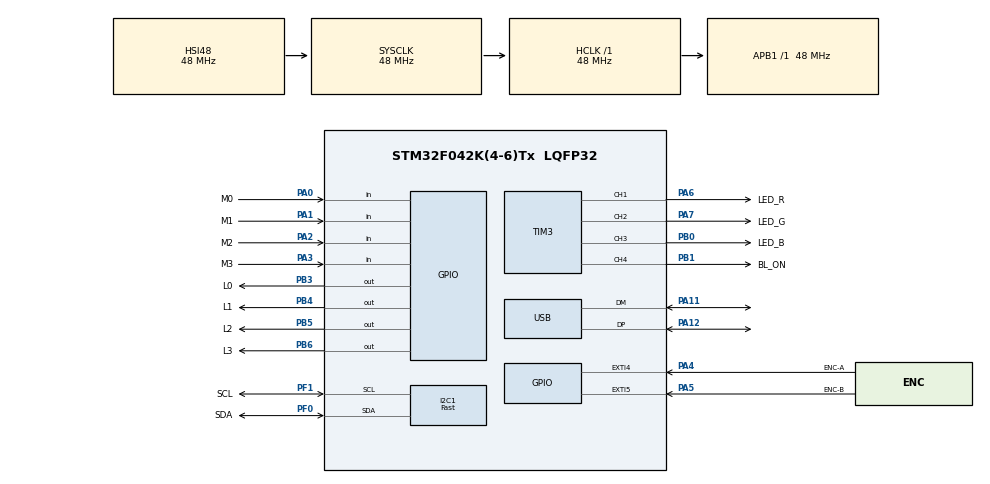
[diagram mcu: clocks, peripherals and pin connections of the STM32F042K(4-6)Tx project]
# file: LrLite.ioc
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ADC.SamplingTime=ADC_SAMPLETIME_239CYCLES_5
I2C1.I2C_Speed_Mode=I2C_Fast
I2C1.Timing=0x0000020B
Mcu.Family=STM32F0
Mcu.Name=STM32F042K(4-6)Tx
Mcu.Package=LQFP32
Mcu.UserConstants=TIM_PRESC_1uS,47;TIM_PRESC_100uS,4799;TIM_PERIOD_4mS,4000;TIM_PERIOD_1SEC,10000;TIM_PERIOD_125uS,125;TIM_PERIOD_10mS,10000;LrLite_VENDOR,"Ruffles Inc.";LrLite_PRODUCT,"LrLite";LrLite_PID,0xBBA
NVIC.EXTI4_15_IRQn=true\:0\:0\:false\:false\:true\:true\:true
NVIC.TIM16_IRQn=true\:0\:0\:false\:false\:true\:true\:true
NVIC.TIM1_BRK_UP_TRG_COM_IRQn=true\:0\:0\:false\:false\:true\:true\:true
NVIC.USB_IRQn=true\:0\:0\:false\:false\:true\:false\:true
PA0.GPIO_Label=M0
PA0.Signal=GPIO_Input
PA1.GPIO_Label=M1
PA1.Signal=GPIO_Input
PA11.Mode=Device
PA11.Signal=USB_DM
PA12.Mode=Device
PA12.Signal=USB_DP
PA13.GPIO_Label=SWDIO
PA13.Mode=Serial_Wire
PA13.Signal=SYS_SWDIO
PA14.GPIO_Label=SWCLK
PA14.Mode=Serial_Wire
PA14.Signal=SYS_SWCLK
PA2.GPIO_Label=M2
PA2.Signal=GPIO_Input
PA3.GPIO_Label=M3
PA3.Signal=GPIO_Input
PA4.GPIO_Label=ENC-A
PA4.GPIO_ModeDefaultEXTI=GPIO_MODE_IT_RISING_FALLING
PA4.GPIO_PuPd=GPIO_NOPULL
PA4.Signal=GPXTI4
PA5.GPIO_Label=ENC-B
PA5.GPIO_ModeDefaultEXTI=GPIO_MODE_IT_RISING_FALLING
PA5.GPIO_PuPd=GPIO_NOPULL
PA5.Signal=GPXTI5
PA6.GPIO_Label=LED_R
PA6.Signal=S_TIM3_CH1
PA7.GPIO_Label=LED_G
PA7.Signal=S_TIM3_CH2
PB0.GPIO_Label=LED_B
PB0.Signal=S_TIM3_CH3
PB1.GPIO_Label=BL_ON
PB1.Signal=S_TIM3_CH4
PB3.GPIO_Label=L0
PB3.Signal=GPIO_Output
PB4.GPIO_Label=L1
PB4.Signal=GPIO_Output
PB5.GPIO_Label=L2
PB5.Signal=GPIO_Output
PB6.GPIO_Label=L3
PB6.Signal=GPIO_Output
PF0-OSC_IN.GPIO_Label=SDA
PF0-OSC_IN.Mode=I2C
PF0-OSC_IN.Signal=I2C1_SDA
PF1-OSC_OUT.GPIO_Label=SCL
PF1-OSC_OUT.Mode=I2C
PF1-OSC_OUT.Signal=I2C1_SCL
ProjectManager.HeapSize=0x200
ProjectManager.StackSize=0x400
ProjectManager.TargetToolchain=TrueSTUDIO
RCC.AHBFreq_Value=48000000
RCC.APB1Freq_Value=48000000
RCC.APB1TimFreq_Value=48000000
RCC.HCLKFreq_Value=48000000
RCC.SYSCLKFreq_VALUE=48000000
RCC.SYSCLKSource=RCC_SYSCLKSOURCE_HSI48
SH.S_TIM3_CH1.0=TIM3_CH1,PWM Generation1 CH1
SH.S_TIM3_CH2.0=TIM3_CH2,PWM Generation2 CH2
SH.S_TIM3_CH3.0=TIM3_CH3,PWM Generation3 CH3
SH.S_TIM3_CH4.0=TIM3_CH4,PWM Generation4 CH4
TIM1.Period=TIM_PERIOD_4mS
TIM1.Prescaler=TIM_PRESC_1uS
TIM14.Period=TIM_PERIOD_125uS
TIM14.Prescaler=TIM_PRESC_1uS
TIM16.Period=TIM_PERIOD_10mS
TIM16.Prescaler=TIM_PRESC_1uS
TIM3.Channel-PWM\ Generation1\ CH1=TIM_CHANNEL_1
TIM3.Channel-PWM\ Generation2\ CH2=TIM_CHANNEL_2
TIM3.Channel-PWM\ Generation3\ CH3=TIM_CHANNEL_3
TIM3.Channel-PWM\ Generation4\ CH4=TIM_CHANNEL_4
TIM3.OCMode_PWM-PWM\ Generation1\ CH1=TIM_OCMODE_PWM2
TIM3.OCMode_PWM-PWM\ Generation2\ CH2=TIM_OCMODE_PWM2
TIM3.OCMode_PWM-PWM\ Generation3\ CH3=TIM_OCMODE_PWM2
TIM3.OCMode_PWM-PWM\ Generation4\ CH4=TIM_OCMODE_PWM2
TIM3.Period=TIM_PERIOD_1SEC
TIM3.Prescaler=TIM_PRESC_100uS
TIM3.Pulse-PWM\ Generation1\ CH1=5000
TIM3.Pulse-PWM\ Generation2\ CH2=5000
TIM3.Pulse-PWM\ Generation3\ CH3=5000
USB_DEVICE.CLASS_NAME_FS=HID
USB_DEVICE.MANUFACTURER_STRING=LrLite_VENDOR
USB_DEVICE.PID_HID_FS=LrLite_PID
USB_DEVICE.PRODUCT_STRING_HID_FS=LrLite_PRODUCT
USB_DEVICE.VirtualMode=Hid
USB_DEVICE.VirtualModeFS=Hid_FS
VP_ADC_TempSens_Input.Mode=IN-TempSens
VP_RCC_USB.Mode=CRS SYNC Source USB
VP_TIM14_VS_ClockSourceINT.Mode=Enable_Timer
VP_TIM16_VS_ClockSourceINT.Mode=Enable_Timer
VP_TIM1_VS_ClockSourceINT.Mode=Internal
VP_TIM3_VS_ClockSourceINT.Mode=Internal
VP_USB_DEVICE_VS_USB_DEVICE_HID_FS.Mode=HID_FS
board=custom

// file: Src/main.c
/**
  ******************************************************************************
  * @file           : main.c
  * @brief          : Main program body
  ******************************************************************************
  * This notice applies to any and all portions of this file
  * that are not between comment pairs USER CODE BEGIN and
  * USER CODE END. Other portions of this file, whether
  * inserted by the user or by software development tools
  * are owned by their respective copyright owners.
  *
  * Copyright (c) 2018 STMicroelectronics International N.V.
  * All rights reserved.
  *
  * Redistribution and use in source and binary forms, with or without
  * modification, are permitted, provided that the following conditions are met:
  *
  * 1. Redistribution of source code must retain the above copyright notice,
  *    this list of conditions and the following disclaimer.
  * 2. Redistributions in binary form must reproduce the above copyright notice,
  *    this list of conditions and the following disclaimer in the documentation
  *    and/or other materials provided with the distribution.
  * 3. Neither the name of STMicroelectronics nor the names of other
  *    contributors to this software may be used to endorse or promote products
  *    derived from this software without specific written permission.
  * 4. This software, including modifications and/or derivative works of this
  *    software, must execute solely and exclusively on microcontroller or
  *    microprocessor devices manufactured by or for STMicroelectronics.
  * 5. Redistribution and use of this software other than as permitted under
  *    this license is void and will automatically terminate your rights under
  *    this license.
  *
  * THIS SOFTWARE IS PROVIDED BY STMICROELECTRONICS AND CONTRIBUTORS "AS IS"
  * AND ANY EXPRESS, IMPLIED OR STATUTORY WARRANTIES, INCLUDING, BUT NOT
  * LIMITED TO, THE IMPLIED WARRANTIES OF MERCHANTABILITY, FITNESS FOR A
  * PARTICULAR PURPOSE AND NON-INFRINGEMENT OF THIRD PARTY INTELLECTUAL PROPERTY
  * RIGHTS ARE DISCLAIMED TO THE FULLEST EXTENT PERMITTED BY LAW. IN NO EVENT
  * SHALL STMICROELECTRONICS OR CONTRIBUTORS BE LIABLE FOR ANY DIRECT, INDIRECT,
  * INCIDENTAL, SPECIAL, EXEMPLARY, OR CONSEQUENTIAL DAMAGES (INCLUDING, BUT NOT
  * LIMITED TO, PROCUREMENT OF SUBSTITUTE GOODS OR SERVICES; LOSS OF USE, DATA,
  * OR PROFITS; OR BUSINESS INTERRUPTION) HOWEVER CAUSED AND ON ANY THEORY OF
  * LIABILITY, WHETHER IN CONTRACT, STRICT LIABILITY, OR TORT (INCLUDING
  * NEGLIGENCE OR OTHERWISE) ARISING IN ANY WAY OUT OF THE USE OF THIS SOFTWARE,
  * EVEN IF ADVISED OF THE POSSIBILITY OF SUCH DAMAGE.
  *
  ******************************************************************************
  */
#include "main.h"
#include "stm32f0xx_hal.h"
#include "usb_device.h"

/* USER CODE BEGIN Includes */
#include "usbd_hid.h"
#include "stm32f0xx_hal_tim.h"
/* USER CODE END Includes */

ADC_HandleTypeDef hadc;

I2C_HandleTypeDef hi2c1;

TIM_HandleTypeDef htim1;
TIM_HandleTypeDef htim3;
TIM_HandleTypeDef htim14;
TIM_HandleTypeDef htim16;

/* USER CODE BEGIN PV */
/* Private variables ---------------------------------------------------------*/
bool		isKeyPressed;
KEYSCAN     keystat;
uint8_t     keymouse;
uint8_t		keyline;
int32_t     lcd_timer;
bool		lcd_timer_enable;
bool        lcd_flag;
bool		isUSBConfigured,prevUSBConfigured = false;
bool		isKeyRelaseSent = true;
KEY_MODIFIER modifiers[KEY_COUNT];
KEYBOARD_INPUT_REPORT	In_Report;
extern KEY_DEFINE keytable[];
extern USBD_HandleTypeDef hUsbDeviceFS;
/* USER CODE END PV */

void SystemClock_Config(void);
static void MX_GPIO_Init(void);
static void MX_I2C1_Init(void);
static void MX_TIM3_Init(void);
static void MX_TIM1_Init(void);
static void MX_ADC_Init(void);
static void MX_TIM14_Init(void);
static void MX_TIM16_Init(void);

void HAL_TIM_MspPostInit(TIM_HandleTypeDef *htim);

/* USER CODE BEGIN PFP */
/* Private function prototypes -----------------------------------------------*/

/* USER CODE END PFP */

/* USER CODE BEGIN 0 */

//Delay process in us unit.
void Delay_us(uint32_t microsec){
	htim14.Init.Period = microsec;
	HAL_TIM_Base_Init(&htim14);
	HAL_TIM_Base_Start(&htim14);
	htim14.Instance->SR = 0;
	while((htim14.Instance->SR & TIM_SR_UIF) == 0)	;	//wait until timer up.
	HAL_TIM_Base_Stop(&htim14);
}

#if 0
void ExpandModifiers() {
	uint8_t mod_index;
	memset(modifiers, 0, sizeof(modifiers));
	for (mod_index = 0; mod_index < KEY_COUNT; mod_index++) {
		uint8_t modifier = keytable[mod_index].modifier;
		uint8_t bitcount = bitcount8(modifier);
		if (modifier != HID_NONM && bitcount > 1) {
			uint8_t dst_index = 0;
			uint8_t pattern = 0;
			if (modifier & HID_GUIM) {
				pattern += HID_GUIM;
				modifiers[mod_index].element[dst_index] = pattern;
				dst_index += 1;
			}
			if (modifier & HID_ALTM) {
				pattern += HID_ALTM;
				modifiers[mod_index].element[dst_index] = pattern;
				dst_index += 1;
			}
			if (modifier & HID_SFTM) {
				pattern += HID_SFTM;
				modifiers[mod_index].element[dst_index] = pattern;
				dst_index += 1;
			}
			if (modifier & HID_CTLM) {
				pattern += HID_CTLM;
				modifiers[mod_index].element[dst_index] = pattern;
			}
		}
	}
}
void SendModifierElement(uint8_t mod) {
	In_Report.modifier = mod;
	In_Report.keys[0] =
	In_Report.keys[1] =
	In_Report.keys[2] =
	In_Report.keys[3] = HID_NONE;
    USBD_HID_SendReport(&hUsbDeviceFS,(uint8_t *)&In_Report,sizeof(KEYBOARD_INPUT_REPORT) );
}

void SendModifiers(uint8_t bitpos) {
	uint8_t i;
	for (i = 0; i < 4; i++) {
		uint8_t mod = modifiers[bitpos].element[i];
		if (mod == HID_NONM) break;
		SendModifierElement(mod);
	}
}
#endif

bool EmulateKeyboard(void)
{
    uint32_t rkey;
    uint8_t bitpos;
    bool isKeyReport;
    if(isKeyPressed) {
        bitpos = ntz32(keystat.wd);
        rkey = (keystat.wd & MOD_SW_BIT_MASK);
        if( bitpos < KEY_COUNT + 2 ){
#if 0
        	if(modifiers[bitpos].element[0] != HID_NONM) SendModifiers(bitpos);
#endif
            In_Report.modifier = keytable[bitpos].modifier;
            In_Report.keys[HID_RPT_KEY_IDX] = keytable[bitpos].keycode;
            if (keytable[bitpos].message != NULL) {
        		LCD_Locate(0,0);
            	lcd_flag = false;
        		lcd_timer_enable = true;
            	lcd_timer = LCD_TIMER_DEFAULT;
            	LED_SetBackLight(LCD_BL_ON,LED_BL_STATIC);
            	LCD_Print(keytable[bitpos].message);
            }
			LED_SetPulse(LED_COLOR_YELLOW);
            isKeyReport = true;
		}else if(rkey == 0) {// Keys are released
			In_Report.modifier = In_Report.keys[HID_RPT_KEY_IDX] = HID_NONE;
			isKeyReport = true;
        }else
        	isKeyReport = false;

        if(isKeyReport){
        	USBD_HID_HandleTypeDef *hhid = hUsbDeviceFS.pClassData;
        	while( hhid->state != HID_IDLE ){
        		Delay_us(100);
        	}
			USBD_HID_SendReport(&hUsbDeviceFS,(uint8_t *)&In_Report,sizeof(KEYBOARD_INPUT_REPORT) );
			isKeyReport = false;
        }

        /* Clear the switch pressed flag */
        isKeyPressed = false;
        return true;
    } else
        return false;
}

/* USER CODE END 0 */

int main(void)
{

  /* MCU Configuration----------------------------------------------------------*/

  /* Reset of all peripherals, Initializes the Flash interface and the Systick. */
  HAL_Init();

  /* USER CODE BEGIN Init */
  keyline = 0;
  lcd_flag = false;
  lcd_timer_enable = false;
  lcd_timer = LCD_TIMER_DEFAULT;
  isUSBConfigured = false;
#if 0
  ExpandModifiers();
#endif
  /* USER CODE END Init */

  /* Configure the system clock */
  SystemClock_Config();

  /* Initialize all configured peripherals */
  MX_GPIO_Init();
  MX_I2C1_Init();
  MX_TIM3_Init();
  MX_TIM1_Init();
  MX_ADC_Init();
  MX_TIM14_Init();
  MX_USB_DEVICE_Init();
  MX_TIM16_Init();
  /* USER CODE BEGIN 2 */
  HAL_GPIO_WritePin(L0_GPIO_Port,L0_Pin,GPIO_PIN_SET);	//Initialize SW matrix.
  HAL_TIM_Base_Start_IT(&htim1);

  LED_Initialize();
  LED_Set(LED_COLOR_OFF, LED_BLINK_NONE);
  LED_SetBackLight(LCD_BL_ON,LED_BL_STATIC);
  HAL_Delay(LCD_PWRUP_WAIT_MS);		//Wait for LCD module power up.
  LCD_Initialize();
  /* USER CODE END 2 */

  /* Infinite loop */
  /* USER CODE BEGIN WHILE */
  uint32_t inner_sensor_val;
  const uint16_t ts_cal110 = *TEMP110_CAL_ADDR;
  const uint16_t ts_cal30 = *TEMP30_CAL_ADDR;
  const float k = (110.0 - 30.0) / (ts_cal110 - ts_cal30);

  char lcdmsg[12];
  lcd_timer = LCD_TIMER_DEFAULT;
  lcd_flag = false;
  lcd_timer_enable = true;
  while (1)
  {
	  if(isUSBConfigured){
		  if(prevUSBConfigured == false){
			  //USB device configured by host
			  LED_Set(LED_COLOR_RED, LED_BLINK_NONE);
			  LCD_Print(USBD_PRODUCT_STRING_FS);
			  sprintf(lcdmsg,"%2x.%02x",USBD_DEVICE_VER_MAJ,USBD_DEVICE_VER_MIN);
			  LCD_Locate(3,1);
			  LCD_Print(lcdmsg);
		  }

		  EmulateKeyboard();

		  if(lcd_flag){
			  LED_Set(LED_COLOR_OFF, LED_BLINK_NONE);
			  lcd_flag = false;
			  LED_SetBackLight(LCD_BL_OFF,LED_BL_STATIC);
			  LCD_Clear();
		  }
	  }else{
		if(prevUSBConfigured == true){
			LED_Set(LED_COLOR_BLUE, LED_BLINK_NONE);
		}
		if(lcd_flag){
			LED_SetBackLight(LCD_BL_ON,LED_BL_LOWPWR);
			HAL_ADC_Start(&hadc);
			//get value from ADC and display it...
			while (HAL_ADC_PollForConversion(&hadc,100) != HAL_OK)	;

			inner_sensor_val = HAL_ADC_GetValue(&hadc);

			int16_t m = inner_sensor_val - ts_cal30;
			float t = (k * (float)m) + 30.0;

			int tempf = (t * 100);
			int8_t temp_i = tempf / 100;
			int8_t temp_s = tempf % 100;

			sprintf(lcdmsg,"%02d.%02dC\xdf",temp_i,temp_s);
			//sprintf(lcdmsg,"%04X",inner_sensor_val);

			LCD_Locate(0,0);
			LCD_Print(lcdmsg);
			//Restart LCD timer.
			lcd_flag = false;
			lcd_timer = LCD_TIMER_UPDATE;
			lcd_timer_enable = true;
		}
	  }
	  prevUSBConfigured = isUSBConfigured;

  /* USER CODE END WHILE */

  }

}

void SystemClock_Config(void)
{

  RCC_OscInitTypeDef RCC_OscInitStruct;
  RCC_ClkInitTypeDef RCC_ClkInitStruct;
  RCC_PeriphCLKInitTypeDef PeriphClkInit;
  RCC_CRSInitTypeDef RCC_CRSInitStruct;

    /**Initializes the CPU, AHB and APB busses clocks
    */
  RCC_OscInitStruct.OscillatorType = RCC_OSCILLATORTYPE_HSI|RCC_OSCILLATORTYPE_HSI14
                              |RCC_OSCILLATORTYPE_HSI48;
  RCC_OscInitStruct.HSIState = RCC_HSI_ON;
  RCC_OscInitStruct.HSI48State = RCC_HSI48_ON;
  RCC_OscInitStruct.HSI14State = RCC_HSI14_ON;
  RCC_OscInitStruct.HSICalibrationValue = 16;
  RCC_OscInitStruct.HSI14CalibrationValue = 16;
  RCC_OscInitStruct.PLL.PLLState = RCC_PLL_NONE;
  if (HAL_RCC_OscConfig(&RCC_OscInitStruct) != HAL_OK)
  {
    _Error_Handler(__FILE__, __LINE__);
  }

    /**Initializes the CPU, AHB and APB busses clocks
    */
  RCC_ClkInitStruct.ClockType = RCC_CLOCKTYPE_HCLK|RCC_CLOCKTYPE_SYSCLK
                              |RCC_CLOCKTYPE_PCLK1;
  RCC_ClkInitStruct.SYSCLKSource = RCC_SYSCLKSOURCE_HSI48;
  RCC_ClkInitStruct.AHBCLKDivider = RCC_SYSCLK_DIV1;
  RCC_ClkInitStruct.APB1CLKDivider = RCC_HCLK_DIV1;

  if (HAL_RCC_ClockConfig(&RCC_ClkInitStruct, FLASH_LATENCY_1) != HAL_OK)
  {
    _Error_Handler(__FILE__, __LINE__);
  }

  PeriphClkInit.PeriphClockSelection = RCC_PERIPHCLK_USB|RCC_PERIPHCLK_I2C1;
  PeriphClkInit.I2c1ClockSelection = RCC_I2C1CLKSOURCE_HSI;
  PeriphClkInit.UsbClockSelection = RCC_USBCLKSOURCE_HSI48;

  if (HAL_RCCEx_PeriphCLKConfig(&PeriphClkInit) != HAL_OK)
  {
    _Error_Handler(__FILE__, __LINE__);
  }

    /**Enable the SYSCFG APB clock
    */
  __HAL_RCC_CRS_CLK_ENABLE();

    /**Configures CRS
    */
  RCC_CRSInitStruct.Prescaler = RCC_CRS_SYNC_DIV1;
  RCC_CRSInitStruct.Source = RCC_CRS_SYNC_SOURCE_USB;
  RCC_CRSInitStruct.Polarity = RCC_CRS_SYNC_POLARITY_RISING;
  RCC_CRSInitStruct.ReloadValue = __HAL_RCC_CRS_RELOADVALUE_CALCULATE(48000000,1000);
  RCC_CRSInitStruct.ErrorLimitValue = 34;
  RCC_CRSInitStruct.HSI48CalibrationValue = 32;

  HAL_RCCEx_CRSConfig(&RCC_CRSInitStruct);

    /**Configure the Systick interrupt time
    */
  HAL_SYSTICK_Config(HAL_RCC_GetHCLKFreq()/1000);

    /**Configure the Systick
    */
  HAL_SYSTICK_CLKSourceConfig(SYSTICK_CLKSOURCE_HCLK);

  /* SysTick_IRQn interrupt configuration */
  HAL_NVIC_SetPriority(SysTick_IRQn, 0, 0);
}

/* ADC init function */
static void MX_ADC_Init(void)
{

  ADC_ChannelConfTypeDef sConfig;

    /**Configure the global features of the ADC (Clock, Resolution, Data Alignment and number of conversion)
    */
  hadc.Instance = ADC1;
  hadc.Init.ClockPrescaler = ADC_CLOCK_ASYNC_DIV1;
  hadc.Init.Resolution = ADC_RESOLUTION_12B;
  hadc.Init.DataAlign = ADC_DATAALIGN_RIGHT;
  hadc.Init.ScanConvMode = ADC_SCAN_DIRECTION_FORWARD;
  hadc.Init.EOCSelection = ADC_EOC_SINGLE_CONV;
  hadc.Init.LowPowerAutoWait = DISABLE;
  hadc.Init.LowPowerAutoPowerOff = DISABLE;
  hadc.Init.ContinuousConvMode = DISABLE;
  hadc.Init.DiscontinuousConvMode = DISABLE;
  hadc.Init.ExternalTrigConv = ADC_SOFTWARE_START;
  hadc.Init.ExternalTrigConvEdge = ADC_EXTERNALTRIGCONVEDGE_NONE;
  hadc.Init.DMAContinuousRequests = DISABLE;
  hadc.Init.Overrun = ADC_OVR_DATA_PRESERVED;
  if (HAL_ADC_Init(&hadc) != HAL_OK)
  {
    _Error_Handler(__FILE__, __LINE__);
  }

    /**Configure for the selected ADC regular channel to be converted.
    */
  sConfig.Channel = ADC_CHANNEL_TEMPSENSOR;
  sConfig.Rank = ADC_RANK_CHANNEL_NUMBER;
  sConfig.SamplingTime = ADC_SAMPLETIME_239CYCLES_5;
  if (HAL_ADC_ConfigChannel(&hadc, &sConfig) != HAL_OK)
  {
    _Error_Handler(__FILE__, __LINE__);
  }

}

/* I2C1 init function */
static void MX_I2C1_Init(void)
{

  hi2c1.Instance = I2C1;
  hi2c1.Init.Timing = 0x0000020B;
  hi2c1.Init.OwnAddress1 = 0;
  hi2c1.Init.AddressingMode = I2C_ADDRESSINGMODE_7BIT;
  hi2c1.Init.DualAddressMode = I2C_DUALADDRESS_DISABLE;
  hi2c1.Init.OwnAddress2 = 0;
  hi2c1.Init.OwnAddress2Masks = I2C_OA2_NOMASK;
  hi2c1.Init.GeneralCallMode = I2C_GENERALCALL_DISABLE;
  hi2c1.Init.NoStretchMode = I2C_NOSTRETCH_DISABLE;
  if (HAL_I2C_Init(&hi2c1) != HAL_OK)
  {
    _Error_Handler(__FILE__, __LINE__);
  }

    /**Configure Analogue filter
    */
  if (HAL_I2CEx_ConfigAnalogFilter(&hi2c1, I2C_ANALOGFILTER_ENABLE) != HAL_OK)
  {
    _Error_Handler(__FILE__, __LINE__);
  }

    /**Configure Digital filter
    */
  if (HAL_I2CEx_ConfigDigitalFilter(&hi2c1, 0) != HAL_OK)
  {
    _Error_Handler(__FILE__, __LINE__);
  }

}

/* TIM1 init function */
static void MX_TIM1_Init(void)
{

  TIM_ClockConfigTypeDef sClockSourceConfig;
  TIM_MasterConfigTypeDef sMasterConfig;

  htim1.Instance = TIM1;
  htim1.Init.Prescaler = TIM_PRESC_1uS;
  htim1.Init.CounterMode = TIM_COUNTERMODE_UP;
  htim1.Init.Period = TIM_PERIOD_4mS;
  htim1.Init.ClockDivision = TIM_CLOCKDIVISION_DIV1;
  htim1.Init.RepetitionCounter = 0;
  htim1.Init.AutoReloadPreload = TIM_AUTORELOAD_PRELOAD_DISABLE;
  if (HAL_TIM_Base_Init(&htim1) != HAL_OK)
  {
    _Error_Handler(__FILE__, __LINE__);
  }

  sClockSourceConfig.ClockSource = TIM_CLOCKSOURCE_INTERNAL;
  if (HAL_TIM_ConfigClockSource(&htim1, &sClockSourceConfig) != HAL_OK)
  {
    _Error_Handler(__FILE__, __LINE__);
  }

  sMasterConfig.MasterOutputTrigger = TIM_TRGO_RESET;
  sMasterConfig.MasterSlaveMode = TIM_MASTERSLAVEMODE_DISABLE;
  if (HAL_TIMEx_MasterConfigSynchronization(&htim1, &sMasterConfig) != HAL_OK)
  {
    _Error_Handler(__FILE__, __LINE__);
  }

}

/* TIM3 init function */
static void MX_TIM3_Init(void)
{

  TIM_ClockConfigTypeDef sClockSourceConfig;
  TIM_MasterConfigTypeDef sMasterConfig;
  TIM_OC_InitTypeDef sConfigOC;

  htim3.Instance = TIM3;
  htim3.Init.Prescaler = TIM_PRESC_100uS;
  htim3.Init.CounterMode = TIM_COUNTERMODE_UP;
  htim3.Init.Period = TIM_PERIOD_1SEC;
  htim3.Init.ClockDivision = TIM_CLOCKDIVISION_DIV1;
  htim3.Init.AutoReloadPreload = TIM_AUTORELOAD_PRELOAD_DISABLE;
  if (HAL_TIM_Base_Init(&htim3) != HAL_OK)
  {
    _Error_Handler(__FILE__, __LINE__);
  }

  sClockSourceConfig.ClockSource = TIM_CLOCKSOURCE_INTERNAL;
  if (HAL_TIM_ConfigClockSource(&htim3, &sClockSourceConfig) != HAL_OK)
  {
    _Error_Handler(__FILE__, __LINE__);
  }

  if (HAL_TIM_PWM_Init(&htim3) != HAL_OK)
  {
    _Error_Handler(__FILE__, __LINE__);
  }

  sMasterConfig.MasterOutputTrigger = TIM_TRGO_RESET;
  sMasterConfig.MasterSlaveMode = TIM_MASTERSLAVEMODE_DISABLE;
  if (HAL_TIMEx_MasterConfigSynchronization(&htim3, &sMasterConfig) != HAL_OK)
  {
    _Error_Handler(__FILE__, __LINE__);
  }

  sConfigOC.OCMode = TIM_OCMODE_PWM2;
  sConfigOC.Pulse = (TIM_PERIOD_1SEC / 2);
  sConfigOC.OCPolarity = TIM_OCPOLARITY_HIGH;
  sConfigOC.OCFastMode = TIM_OCFAST_DISABLE;
  if (HAL_TIM_PWM_ConfigChannel(&htim3, &sConfigOC, TIM_CHANNEL_1) != HAL_OK)
  {
    _Error_Handler(__FILE__, __LINE__);
  }

  if (HAL_TIM_PWM_ConfigChannel(&htim3, &sConfigOC, TIM_CHANNEL_2) != HAL_OK)
  {
    _Error_Handler(__FILE__, __LINE__);
  }

  if (HAL_TIM_PWM_ConfigChannel(&htim3, &sConfigOC, TIM_CHANNEL_3) != HAL_OK)
  {
    _Error_Handler(__FILE__, __LINE__);
  }
  //LCD BackLight
  sConfigOC.Pulse = 0;
  if (HAL_TIM_PWM_ConfigChannel(&htim3, &sConfigOC, TIM_CHANNEL_4) != HAL_OK)
  {
    _Error_Handler(__FILE__, __LINE__);
  }

  HAL_TIM_MspPostInit(&htim3);

}

/* TIM14 init function */
static void MX_TIM14_Init(void)
{

  htim14.Instance = TIM14;
  htim14.Init.Prescaler = TIM_PRESC_1uS;
  htim14.Init.CounterMode = TIM_COUNTERMODE_UP;
  htim14.Init.Period = TIM_PERIOD_125uS;
  htim14.Init.ClockDivision = TIM_CLOCKDIVISION_DIV1;
  htim14.Init.AutoReloadPreload = TIM_AUTORELOAD_PRELOAD_DISABLE;
  if (HAL_TIM_Base_Init(&htim14) != HAL_OK)
  {
    _Error_Handler(__FILE__, __LINE__);
  }

}

/* TIM16 init function */
static void MX_TIM16_Init(void)
{

  htim16.Instance = TIM16;
  htim16.Init.Prescaler = TIM_PRESC_1uS;
  htim16.Init.CounterMode = TIM_COUNTERMODE_UP;
  htim16.Init.Period = TIM_PERIOD_10mS;
  htim16.Init.ClockDivision = TIM_CLOCKDIVISION_DIV1;
  htim16.Init.RepetitionCounter = 0;
  htim16.Init.AutoReloadPreload = TIM_AUTORELOAD_PRELOAD_DISABLE;
  if (HAL_TIM_Base_Init(&htim16) != HAL_OK)
  {
    _Error_Handler(__FILE__, __LINE__);
  }

}

/** Configure pins as
        * Analog
        * Input
        * Output
        * EVENT_OUT
        * EXTI
*/
static void MX_GPIO_Init(void)
{

  GPIO_InitTypeDef GPIO_InitStruct;

  /* GPIO Ports Clock Enable */
  __HAL_RCC_GPIOF_CLK_ENABLE();
  __HAL_RCC_GPIOA_CLK_ENABLE();
  __HAL_RCC_GPIOB_CLK_ENABLE();

  /*Configure GPIO pin Output Level */
  HAL_GPIO_WritePin(GPIOB, L0_Pin|L1_Pin|L2_Pin|L3_Pin, GPIO_PIN_RESET);

  /*Configure GPIO pins : M0_Pin M1_Pin M2_Pin M3_Pin */
  GPIO_InitStruct.Pin = M0_Pin|M1_Pin|M2_Pin|M3_Pin;
  GPIO_InitStruct.Mode = GPIO_MODE_INPUT;
  GPIO_InitStruct.Pull = GPIO_NOPULL;
  HAL_GPIO_Init(GPIOA, &GPIO_InitStruct);

  /*Configure GPIO pins : ENC_A_Pin ENC_B_Pin */
  GPIO_InitStruct.Pin = ENC_A_Pin|ENC_B_Pin;
  GPIO_InitStruct.Mode = GPIO_MODE_IT_RISING_FALLING;
  GPIO_InitStruct.Pull = GPIO_NOPULL;
  HAL_GPIO_Init(GPIOA, &GPIO_InitStruct);

  /*Configure GPIO pins : L0_Pin L1_Pin L2_Pin L3_Pin */
  GPIO_InitStruct.Pin = L0_Pin|L1_Pin|L2_Pin|L3_Pin;
  GPIO_InitStruct.Mode = GPIO_MODE_OUTPUT_PP;
  GPIO_InitStruct.Pull = GPIO_NOPULL;
  GPIO_InitStruct.Speed = GPIO_SPEED_FREQ_LOW;
  HAL_GPIO_Init(GPIOB, &GPIO_InitStruct);

  /* EXTI interrupt init*/
  HAL_NVIC_SetPriority(EXTI4_15_IRQn, 0, 0);
  HAL_NVIC_EnableIRQ(EXTI4_15_IRQn);

}

void _Error_Handler(char *file, int line)
{
  while(1)
  {
  }
}

/************************ (C) COPYRIGHT STMicroelectronics *****END OF FILE****/
